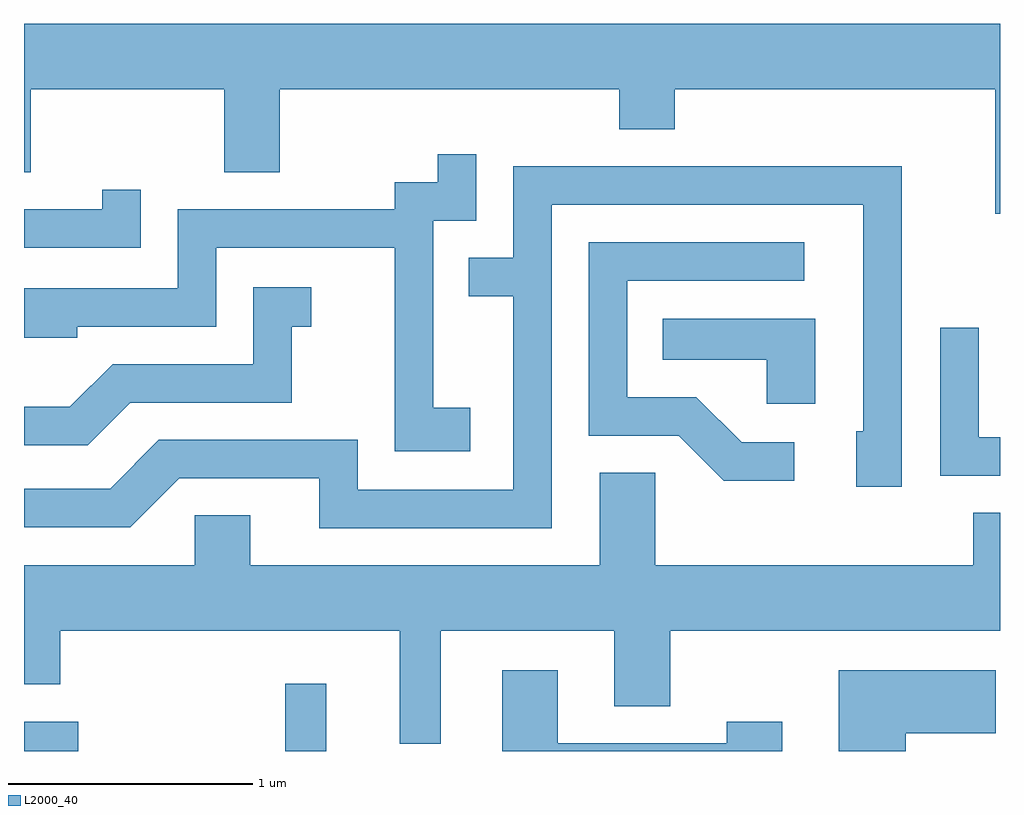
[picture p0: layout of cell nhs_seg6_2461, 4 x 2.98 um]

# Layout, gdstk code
import gdstk
lib = gdstk.Library(unit=1e-6, precision=1e-09)
def R(c, l, rs):  # rectangles x0, y0, x1, y1
    for r in rs: c.add(gdstk.rectangle(r[:2], r[2:], *l))
def P(c, l, *ps):  # polygons
    for p in ps: c.add(gdstk.Polygon(p, *l))
L2000_40 = (2000, 40)

nhs_seg6_2461 = lib.new_cell('nhs_seg6_2461')
R(nhs_seg6_2461, L2000_40, [(259.611,1596.162,259.834,1596.284), (260.681,1596.162,260.849,1596.438)])
P(nhs_seg6_2461, L2000_40, [(263.611,1599.144),(259.611,1599.144),(259.611,1598.536),(259.639,1598.536),(259.639,1598.876),(260.431,1598.876),(260.431,1598.536),(260.659,1598.536),(260.659,1598.876),(262.051,1598.876),(262.051,1598.711),(262.279,1598.711),(262.279,1598.876),(263.591,1598.876),(263.591,1598.366),(263.611,1598.366)],
  [(261.439,1597.569),(261.289,1597.569),(261.289,1598.336),(261.464,1598.336),(261.464,1598.608),(261.306,1598.608),(261.306,1598.494),(261.131,1598.494),(261.131,1598.384),(260.241,1598.384),(260.241,1598.059),(259.611,1598.059),(259.611,1597.856),(259.829,1597.856),(259.829,1597.901),(260.399,1597.901),(260.399,1598.226),(261.131,1598.226),(261.131,1597.391),(261.439,1597.391)],
  [(261.774,1598.401),(263.051,1598.401),(263.051,1597.474),(263.021,1597.474),(263.021,1597.246),(263.209,1597.246),(263.209,1598.559),(261.616,1598.559),(261.616,1598.184),(261.433,1598.184),(261.433,1598.026),(261.616,1598.026),(261.616,1597.234),(260.979,1597.234),(260.979,1597.439),(260.164,1597.439),(259.964,1597.239),(259.611,1597.239),(259.611,1597.081),(260.046,1597.081),(260.247,1597.281),(260.821,1597.281),(260.821,1597.076),(261.774,1597.076)],
  [(260.089,1598.463),(259.931,1598.463),(259.931,1598.384),(259.611,1598.384),(259.611,1598.226),(260.089,1598.226)],
  [(262.768,1597.429),(262.552,1597.429),(262.367,1597.614),(262.084,1597.614),(262.084,1598.091),(262.808,1598.091),(262.808,1598.249),(261.926,1598.249),(261.926,1597.456),(262.294,1597.456),(262.479,1597.271),(262.768,1597.271)],
  [(260.046,1597.591),(260.709,1597.591),(260.709,1597.901),(260.788,1597.901),(260.788,1598.064),(260.551,1598.064),(260.551,1597.749),(259.974,1597.749),(259.799,1597.574),(259.611,1597.574),(259.611,1597.416),(259.872,1597.416)],
  [(262.854,1597.934),(262.228,1597.934),(262.228,1597.766),(262.656,1597.766),(262.656,1597.586),(262.854,1597.586)],
  [(263.611,1597.449),(263.524,1597.449),(263.524,1597.898),(263.366,1597.898),(263.366,1597.291),(263.611,1597.291)],
  [(261.319,1596.656),(262.031,1596.656),(262.031,1596.346),(262.259,1596.346),(262.259,1596.656),(263.611,1596.656),(263.611,1597.139),(263.501,1597.139),(263.501,1596.924),(262.199,1596.924),(262.199,1597.304),(261.971,1597.304),(261.971,1596.924),(260.539,1596.924),(260.539,1597.129),(260.311,1597.129),(260.311,1596.924),(259.611,1596.924),(259.611,1596.436),(259.759,1596.436),(259.759,1596.656),(261.151,1596.656),(261.151,1596.193),(261.319,1596.193)],
  [(262.719,1596.284),(262.491,1596.284),(262.491,1596.194),(261.799,1596.194),(261.799,1596.494),(261.571,1596.494),(261.571,1596.162),(262.719,1596.162)],
  [(263.224,1596.236),(263.594,1596.236),(263.594,1596.494),(262.951,1596.494),(262.951,1596.162),(263.224,1596.162)])

lib.write_gds('nhs_seg6_2461.gds')
